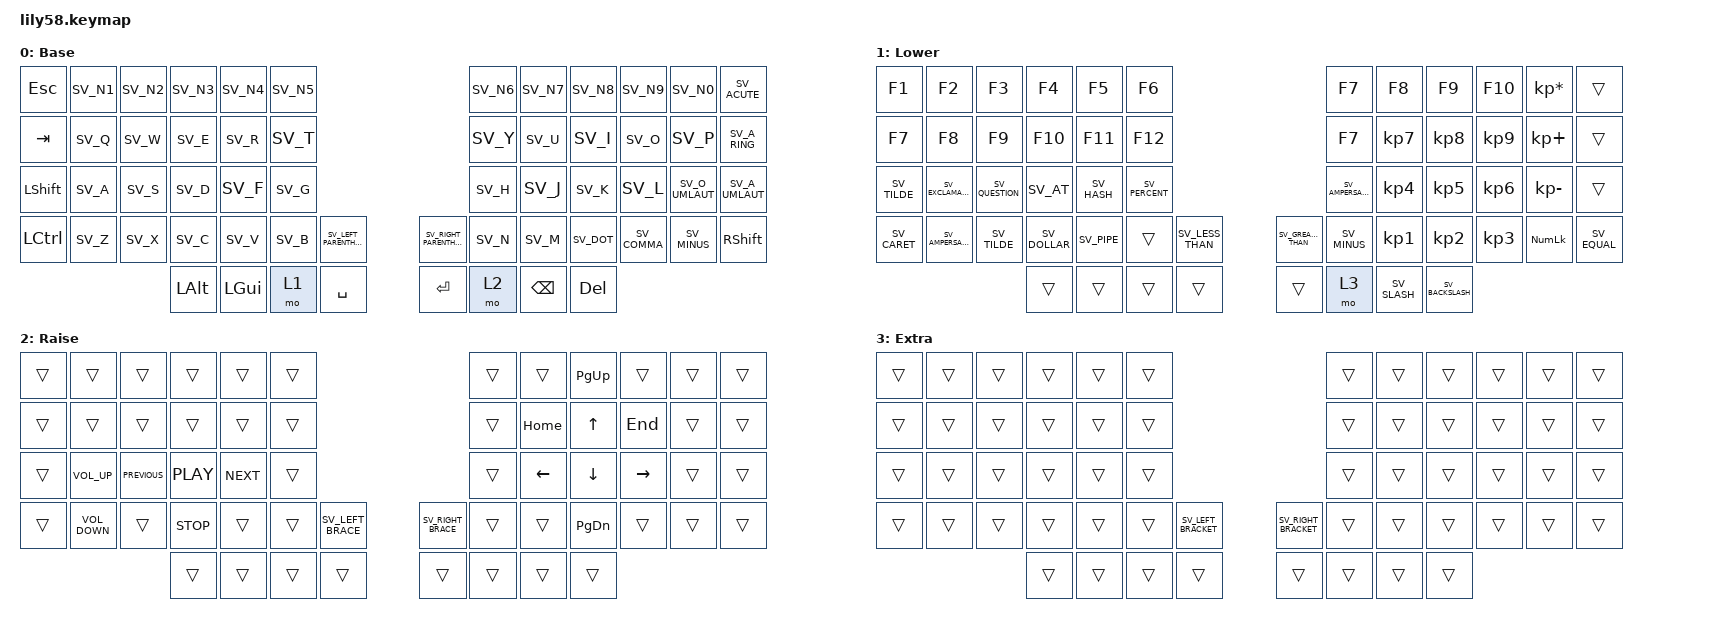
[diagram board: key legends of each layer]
/*
 * Copyright (c) 2020 The ZMK Contributors
 *
 * SPDX-License-Identifier: MIT
 */

#include "keys_sv.h"
#include <behaviors.dtsi>
#include <dt-bindings/zmk/keys.h>

/ {
    macros {
        test: test {
            compatible = "zmk,behavior-macro";
            #binding-cells = <0>;
            bindings = <&none &kp LS(T) &kp E &kp S &kp T &kp LS(S) &kp T &kp R &kp I &kp N &kp G &kp I &kp N &kp G &kp N1 &kp N2 &kp N3>;
            label = "TEST";
        };
    };

    keymap {
        compatible = "zmk,keymap";

        default_layer {
            // ------------------------------------------------------------------------------------------------------------
            // |  ESC  |  1  |  2  |  3   |  4   |  5   |                   |  6   |  7    |  8    |  9   |   0   |   `   |
            // |  TAB  |  Q  |  W  |  E   |  R   |  T   |                   |  Y   |  U    |  I    |  O   |   P   |   -   |
            // |  CTRL |  A  |  S  |  D   |  F   |  G   |                   |  H   |  J    |  K    |  L   |   ;   |   '   |
            // | SHIFT |  Z  |  X  |  C   |  V   |  B   |   "["  |  |  "]"  |  N   |  M    |  ,    |  .   |   /   | SHIFT |
            //                     | ALT  | GUI  | LOWER|  SPACE |  | ENTER | RAISE| BSPC  | GUI   |

            display-name = "Base";
            bindings = <
&kp ESC           &kp SV_N1  &kp SV_N2  &kp SV_N3  &kp SV_N4  &kp SV_N5                                                       &kp SV_N6  &kp SV_N7      &kp SV_N8   &kp SV_N9     &kp SV_N0        &kp SV_ACUTE
&kp TAB           &kp SV_Q   &kp SV_W   &kp SV_E   &kp SV_R   &kp SV_T                                                        &kp SV_Y   &kp SV_U       &kp SV_I    &kp SV_O      &kp SV_P         &kp SV_A_RING
&kp LEFT_SHIFT    &kp SV_A   &kp SV_S   &kp SV_D   &kp SV_F   &kp SV_G                                                        &kp SV_H   &kp SV_J       &kp SV_K    &kp SV_L      &kp SV_O_UMLAUT  &kp SV_A_UMLAUT
&kp LEFT_CONTROL  &kp SV_Z   &kp SV_X   &kp SV_C   &kp SV_V   &kp SV_B   &kp SV_LEFT_PARENTHESIS    &kp SV_RIGHT_PARENTHESIS  &kp SV_N   &kp SV_M       &kp SV_DOT  &kp SV_COMMA  &kp SV_MINUS     &kp RSHFT
                                        &kp LALT   &kp LGUI   &mo 1      &kp SPACE                  &kp RET                   &mo 2      &kp BACKSPACE  &kp DELETE
            >;
        };

        lower_layer {
            // ------------------------------------------------------------------------------------------------------------
            // | BTCLR | BT1 | BT2 |  BT3 |  BT4 |  BT5 |                   |      |       |       |      |       |       |
            // |  F1   |  F2 |  F3 |  F4  |  F5  |  F6  |                   |  F7  |  F8   |  F9   |  F10 |  F11  |  F12  |
            // |   `   |  !  |  @  |  #   |  $   |  %   |                   |  ^   |  &    |  *    |  (   |   )   |   ~   |
            // |       |     |     |      |      |      |        |  |       |      |  _    |  +    |  {   |   }   |  "|"  |
            //                     |      |      |      |        |  |       |      |       |       |

            display-name = "Lower";
            bindings = <
&kp F1        &kp F2              &kp F3           &kp F4         &kp F5       &kp F6                                                   &kp F7            &kp F8           &kp F9            &kp F10          &kp KP_ASTERISK  &trans
&kp F7        &kp F8              &kp F9           &kp F10        &kp F11      &kp F12                                                  &kp F7            &kp KP_NUMBER_7  &kp KP_NUMBER_8   &kp KP_N9        &kp KP_PLUS      &trans
&kp SV_TILDE  &kp SV_EXCLAMATION  &kp SV_QUESTION  &kp SV_AT      &kp SV_HASH  &kp SV_PERCENT                                           &kp SV_AMPERSAND  &kp KP_NUMBER_4  &kp KP_NUMBER_5   &kp KP_NUMBER_6  &kp KP_MINUS     &trans
&kp SV_CARET  &kp SV_AMPERSAND    &kp SV_TILDE     &kp SV_DOLLAR  &kp SV_PIPE  &trans          &kp SV_LESS_THAN    &kp SV_GREATER_THAN  &kp SV_MINUS      &kp KP_NUMBER_1  &kp KP_NUMBER_2   &kp KP_NUMBER_3  &kp KP_NUMLOCK   &kp SV_EQUAL
                                                   &trans         &trans       &trans          &trans              &trans               &mo 3             &kp SV_SLASH     &kp SV_BACKSLASH
            >;
        };

        raise_layer {
            // ------------------------------------------------------------------------------------------------------------
            // |       |     |     |      |      |      |                   |      |       |       |      |       |       |
            // |   `   |  1  |  2  |  3   |  4   |  5   |                   |  6   |   7   |   8   |  9   |   0   |       |
            // |   F1  |  F2 |  F3 |  F4  |  F5  |  F6  |                   |      |   <-  |   v   |  ^   |  ->   |       |
            // |   F7  |  F8 |  F9 |  F10 |  F11 |  F12 |        |  |       |  +   |   -   |   =   |  [   |   ]   |   \   |
            //                     |      |      |      |        |  |       |      |       |       |

            display-name = "Raise";
            bindings = <
&trans  &trans             &trans          &trans      &trans      &trans                                           &trans  &trans    &kp PAGE_UP     &trans           &trans  &trans
&trans  &trans             &trans          &trans      &trans      &trans                                           &trans  &kp HOME  &kp UP_ARROW    &kp END          &trans  &trans
&trans  &kp C_VOLUME_UP    &kp C_PREVIOUS  &kp C_PLAY  &kp C_NEXT  &trans                                           &trans  &kp LEFT  &kp DOWN_ARROW  &kp RIGHT_ARROW  &trans  &trans
&trans  &kp C_VOLUME_DOWN  &trans          &kp C_STOP  &trans      &trans  &kp SV_LEFT_BRACE    &kp SV_RIGHT_BRACE  &trans  &trans    &kp PAGE_DOWN   &trans           &trans  &trans
                                           &trans      &trans      &trans  &trans               &trans              &trans  &trans    &trans
            >;
        };

        extra_1 {
            // ------------------------------------------------------------------------------------------------------------
            // |       |     |     |      |      |      |                   |      |       |       |      |       |       |
            // |   `   |  1  |  2  |  3   |  4   |  5   |                   |  6   |   7   |   8   |  9   |   0   |       |
            // |   F1  |  F2 |  F3 |  F4  |  F5  |  F6  |                   |      |   <-  |   v   |  ^   |  ->   |       |
            // |   F7  |  F8 |  F9 |  F10 |  F11 |  F12 |        |  |       |  +   |   -   |   =   |  [   |   ]   |   \   |
            //                     |      |      |      |        |  |       |      |       |       |

            display-name = "Extra";
            bindings = <
&trans  &trans  &trans  &trans  &trans  &trans                                               &trans  &trans  &trans  &trans  &trans  &trans
&trans  &trans  &trans  &trans  &trans  &trans                                               &trans  &trans  &trans  &trans  &trans  &trans
&trans  &trans  &trans  &trans  &trans  &trans                                               &trans  &trans  &trans  &trans  &trans  &trans
&trans  &trans  &trans  &trans  &trans  &trans  &kp SV_LEFT_BRACKET    &kp SV_RIGHT_BRACKET  &trans  &trans  &trans  &trans  &trans  &trans
                        &trans  &trans  &trans  &trans                 &trans                &trans  &trans  &trans
            >;
        };

        extra_2 { status = "reserved"; };

        extra_3 { status = "reserved"; };
    };
};
